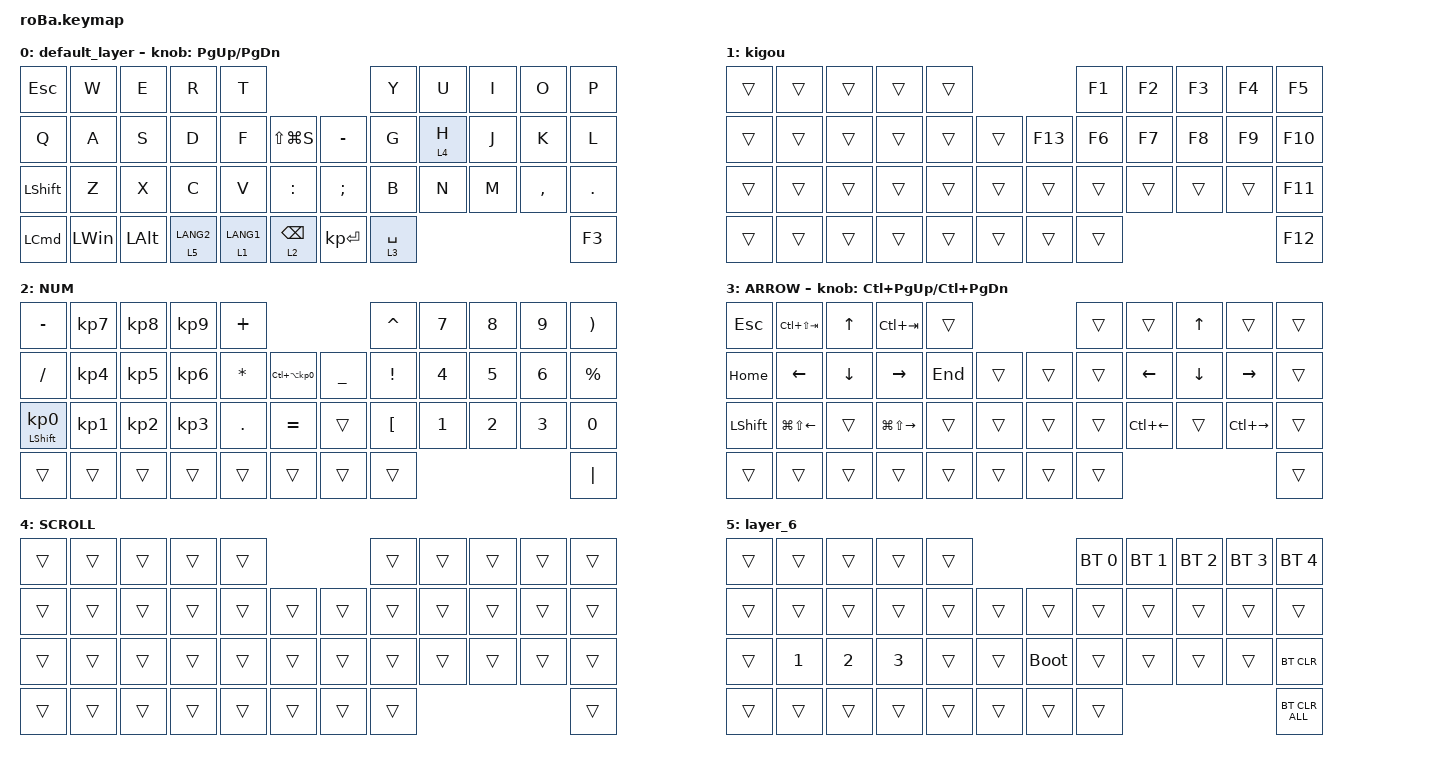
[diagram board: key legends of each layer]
#include <behaviors.dtsi>
#include <dt-bindings/zmk/bt.h>
#include <dt-bindings/zmk/keys.h>
#include <dt-bindings/zmk/pointing.h>

&mt {
    flavor = "balanced";
    quick-tap-ms = <0>;
};

&trackball {
    scroll-layers = <4>;

    // arrows {
    //     layers = <3>;
    //     bindings =
    //         <&kp RIGHT_ARROW>,
    //         <&kp LEFT_ARROW>,
    //         <&kp UP_ARROW>,
    //         <&kp DOWN_ARROW>;
    //     tick = <10>;
    //     wait-ms = <5>;
    //     tap-ms = <5>;
    // };
};

/ {
    combos {
        compatible = "zmk,combos";

        tab {
            bindings = <&kp TAB>;
            key-positions = <11 12>;
        };

        shift_tab {
            bindings = <&kp LS(TAB)>;
            key-positions = <12 13>;
        };

        muhennkann {
            bindings = <&to_layer_0 INT_MUHENKAN>;
            key-positions = <11 10>;
        };

        double_quotation {
            bindings = <&kp DOUBLE_QUOTES>;
            key-positions = <20 21>;
        };

        eq {
            bindings = <&kp EQUAL>;
            key-positions = <24 25>;
        };

        mouse_left_click {
            bindings = <&mkp MB1>;
            key-positions = <18 19>;
        };

        mouse_right_click {
            bindings = <&mkp MB2>;
            key-positions = <19 20>;
        };

        combo_8 {
            bindings = <&kp C_AC_DESKTOP_SHOW_ALL_WINDOWS>;
            key-positions = <30 31>;
        };

        combo_9 {
            bindings = <&kp C_AC_DESKTOP_SHOW_ALL_APPLICATIONS>;
            key-positions = <31 32>;
        };
    };

    macros {
        to_layer_0: to_layer_0 {
            compatible = "zmk,behavior-macro-one-param";
            #binding-cells = <1>;
            bindings = <&to 0 &macro_param_1to1 &kp MACRO_PLACEHOLDER>;
            label = "TO_LAYER_0";
        };
    };

    behaviors {
        lt_to_layer_0: lt_to_layer_0 {
            compatible = "zmk,behavior-hold-tap";
            label = "LAYER_TAP_TO_0";
            bindings = <&mo>, <&to_layer_0>;

            #binding-cells = <2>;
            tapping-term-ms = <200>;
        };

        // ⌫ 用: タップで ⌫、長押しでレイヤー。
        // タップした直後（200ms 以内）にもう一度押して長押しすると、レイヤーではなく ⌫ の連打になる。
        // マクロ経由だと ZMK が「直前にタップしたキー」を覚えておけないため、⌫ を直接送る。
        lt_bspc: lt_bspc {
            compatible = "zmk,behavior-hold-tap";
            bindings = <&mo>, <&kp>;

            #binding-cells = <2>;
            tapping-term-ms = <200>;
            quick-tap-ms = <200>;
        };
    };

    keymap {
        compatible = "zmk,keymap";

        default_layer {
            bindings = <
&kp ESCAPE        &kp W         &kp E         &kp R                   &kp T                                                 &kp Y        &kp U    &kp I  &kp O      &kp P
&kp Q             &kp A         &kp S         &kp D                   &kp F        &kp LS(LG(S))             &kp MINUS      &kp G        &lt 4 H  &kp J  &kp K      &kp L
&kp LEFT_SHIFT    &kp Z         &kp X         &kp C                   &kp V        &kp COLON                 &kp SEMICOLON  &kp B        &kp N    &kp M  &kp COMMA  &kp PERIOD
&kp LEFT_COMMAND  &kp LEFT_WIN  &kp LEFT_ALT  &lt_to_layer_0 5 LANG2  &lt 1 LANG1  &lt_bspc 2 BACKSPACE      &kp KP_ENTER   &lt 3 SPACE                             &kp F3
            >;

            sensor-bindings = <&inc_dec_kp PG_UP PAGE_DOWN>;
        };

        kigou {
            bindings = <
&trans  &trans  &trans  &trans  &trans                       &kp F1  &kp F2  &kp F3  &kp F4  &kp F5
&trans  &trans  &trans  &trans  &trans  &trans      &kp F13  &kp F6  &kp F7  &kp F8  &kp F9  &kp F10
&trans  &trans  &trans  &trans  &trans  &trans      &trans   &trans  &trans  &trans  &trans  &kp F11
&trans  &trans  &trans  &trans  &trans  &trans      &trans   &trans                          &kp F12
            >;
        };

        NUM {
            bindings = <
&kp MINUS                   &kp KP_NUMBER_7  &kp KP_NUMBER_8  &kp KP_NUMBER_9  &kp PLUS                                                   &kp CARET         &kp NUMBER_7  &kp NUMBER_8  &kp NUMBER_9  &kp RIGHT_PARENTHESIS
&kp SLASH                   &kp KP_NUMBER_4  &kp KP_NUMBER_5  &kp KP_NUMBER_6  &kp ASTERISK  &kp LC(LA(KP_NUMBER_0))      &kp UNDERSCORE  &kp EXCLAMATION   &kp NUMBER_4  &kp NUMBER_5  &kp NUMBER_6  &kp PERCENT
&mt LEFT_SHIFT KP_NUMBER_0  &kp KP_NUMBER_1  &kp KP_NUMBER_2  &kp KP_NUMBER_3  &kp PERIOD    &kp EQUAL                    &trans          &kp LEFT_BRACKET  &kp NUMBER_1  &kp NUMBER_2  &kp NUMBER_3  &kp NUMBER_0
&trans                      &trans           &trans           &trans           &trans        &trans                       &trans          &trans                                                      &kp PIPE
            >;
        };

        ARROW {
            bindings = <
&kp ESCAPE      &kp LC(LS(TAB))         &kp UP_ARROW    &kp LC(TAB)              &trans                       &trans  &trans              &kp UP_ARROW    &trans               &trans
&kp HOME        &kp LEFT_ARROW          &kp DOWN_ARROW  &kp RIGHT_ARROW          &kp END  &trans      &trans  &trans  &kp LEFT_ARROW      &kp DOWN_ARROW  &kp RIGHT_ARROW      &trans
&kp LEFT_SHIFT  &kp LG(LS(LEFT_ARROW))  &trans          &kp LG(LS(RIGHT_ARROW))  &trans   &trans      &trans  &trans  &kp LC(LEFT_ARROW)  &trans          &kp LC(RIGHT_ARROW)  &trans
&trans          &trans                  &trans          &trans                   &trans   &trans      &trans  &trans                                                           &trans
            >;

            sensor-bindings = <&inc_dec_kp LC(PAGE_UP) LC(PAGE_DOWN)>;
        };

        SCROLL {
            bindings = <
&trans  &trans  &trans  &trans  &trans                      &trans  &trans  &trans  &trans  &trans
&trans  &trans  &trans  &trans  &trans  &trans      &trans  &trans  &trans  &trans  &trans  &trans
&trans  &trans  &trans  &trans  &trans  &trans      &trans  &trans  &trans  &trans  &trans  &trans
&trans  &trans  &trans  &trans  &trans  &trans      &trans  &trans                          &trans
            >;
        };

        layer_6 {
            bindings = <
&trans  &trans        &trans        &trans        &trans                           &bt BT_SEL 0  &bt BT_SEL 1  &bt BT_SEL 2  &bt BT_SEL 3  &bt BT_SEL 4
&trans  &trans        &trans        &trans        &trans  &trans      &trans       &trans        &trans        &trans        &trans        &trans
&trans  &kp NUMBER_1  &kp NUMBER_2  &kp NUMBER_3  &trans  &trans      &bootloader  &trans        &trans        &trans        &trans        &bt BT_CLR
&trans  &trans        &trans        &trans        &trans  &trans      &trans       &trans                                                  &bt BT_CLR_ALL
            >;
        };
    };
};
